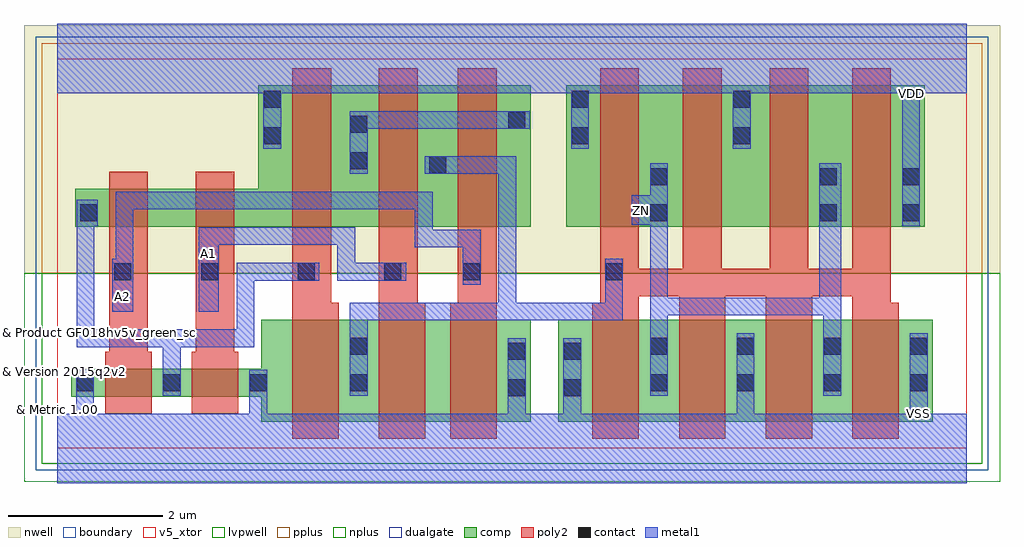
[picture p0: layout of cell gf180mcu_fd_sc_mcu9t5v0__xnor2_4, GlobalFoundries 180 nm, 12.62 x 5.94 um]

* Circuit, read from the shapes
.subckt gf180mcu_fd_sc_mcu9t5v0__xnor2_4 A1 A2 VDD VSS ZN
XM1 n1 A2 VSS VSUBS nfet_05v0 w=0.36u l=0.6u
XM2 VSS A1 n1 VSUBS nfet_05v0 w=0.36u l=0.6u
XM3 n2 n1 VSS VSUBS nfet_05v0 w=1.32u l=0.6u
XM4 n3 A1 n2 VSUBS nfet_05v0 w=1.32u l=0.6u
XM5 VSS A2 n3 VSUBS nfet_05v0 w=1.32u l=0.6u
XM6 ZN n2 VSS VSUBS nfet_05v0 w=1.32u l=0.6u m=4
XM7 n4 A2 n1 n5 pfet_05v0 w=0.495u l=0.5u
XM8 VDD A1 n4 n5 pfet_05v0 w=0.495u l=0.5u
XM9 n6 n1 VDD n5 pfet_05v0 w=1.83u l=0.5u
XM10 n2 A1 n6 n5 pfet_05v0 w=1.83u l=0.5u
XM11 n6 A2 n2 n5 pfet_05v0 w=1.83u l=0.5u
XM12 ZN n2 VDD n5 pfet_05v0 w=1.83u l=0.5u m=4
.ends

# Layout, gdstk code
import gdstk
lib = gdstk.Library(unit=1e-6, precision=1e-09)
def R(c, l, rs):  # rectangles x0, y0, x1, y1
    for r in rs: c.add(gdstk.rectangle(r[:2], r[2:], *l))
def A(c, l, x, y, w, h, nx, ny, dx, dy):  # array of equal rectangles
    R(c, l, [(x+i*dx, y+j*dy, x+i*dx+w, y+j*dy+h) for i in range(nx) for j in range(ny)])
def P(c, l, *ps):  # polygons
    for p in ps: c.add(gdstk.Polygon(p, *l))
boundary = (0, 0)
nwell = (21, 0)
comp = (22, 0)
poly2 = (30, 0)
pplus = (31, 0)
nplus = (32, 0)
contact = (33, 0)
metal1 = (34, 0)
dualgate = (55, 0)
v5_xtor = (112, 1)
lvpwell = (204, 0)

gf180mcu_fd_sc_mcu9t5v0_ = lib.new_cell('gf180mcu_fd_sc_mcu9t5v0__xnor2_4')
R(gf180mcu_fd_sc_mcu9t5v0_, boundary, [(0,0,11.76,5.04)])
R(gf180mcu_fd_sc_mcu9t5v0_, nwell, [(-0.43,2.265,12.19,5.47)])
R(gf180mcu_fd_sc_mcu9t5v0_, comp, [(6.48,0.345,11.32,1.665), (6.58,2.865,11.22,4.695)])
P(gf180mcu_fd_sc_mcu9t5v0_, comp, [(2.64,0.345),(2.64,0.67),(0.18,0.67),(0.18,1.03),(2.64,1.03),(2.64,1.665),(6.12,1.665),(6.12,0.345)],
  [(0.23,2.865),(0.23,3.36),(2.6,3.36),(2.6,4.695),(6.12,4.695),(6.12,2.865)])
P(gf180mcu_fd_sc_mcu9t5v0_, poly2, [(0.62,0.45),(0.62,1.25),(0.67,1.25),(0.67,3.58),(1.17,3.58),(1.17,1.25),(1.22,1.25),(1.22,0.45)],
  [(1.74,0.45),(1.74,1.25),(1.79,1.25),(1.79,3.58),(2.29,3.58),(2.29,1.25),(2.34,1.25),(2.34,0.45)],
  [(3.04,0.125),(3.04,4.915),(3.54,4.915),(3.54,1.885),(3.64,1.885),(3.64,0.125)],
  [(4.16,0.125),(4.16,4.915),(4.66,4.915),(4.66,1.885),(4.76,1.885),(4.76,0.125)],
  [(5.08,0.125),(5.08,1.885),(5.18,1.885),(5.18,4.915),(5.68,4.915),(5.68,0.125)],
  [(6.92,0.125),(6.92,1.885),(7.02,1.885),(7.02,4.915),(7.52,4.915),(7.52,2.325),(8.09,2.325),(8.09,4.915),(8.59,4.915),(8.59,2.325),(9.21,2.325),(9.21,4.915),(9.71,4.915),(9.71,2.325),(10.28,2.325),(10.28,4.915),(10.78,4.915),(10.78,1.885),(10.88,1.885),(10.88,0.125),(10.28,0.125),(10.28,1.965),(9.76,1.965),(9.76,0.125),(9.16,0.125),(9.16,1.965),(8.64,1.965),(8.64,0.125),(8.04,0.125),(8.04,1.965),(7.52,1.965),(7.52,0.125)])
R(gf180mcu_fd_sc_mcu9t5v0_, pplus, [(-0.2,2.265,11.96,5.24)])
R(gf180mcu_fd_sc_mcu9t5v0_, nplus, [(-0.2,-0.2,11.96,2.265)])
A(gf180mcu_fd_sc_mcu9t5v0_, contact, 0.25, 0.74, 0.22, 0.22, 3, 1, 1.12, 0)
A(gf180mcu_fd_sc_mcu9t5v0_, contact, 7.67, 0.74, 0.22, 0.22, 4, 2, 1.12, 0.47)
R(gf180mcu_fd_sc_mcu9t5v0_, contact, [(5.83,0.675,6.05,0.895), (6.55,0.675,6.77,0.895), (3.79,0.74,4.01,0.96), (5.83,1.145,6.05,1.365), (6.55,1.145,6.77,1.365), (3.79,1.21,4.01,1.43), (0.74,2.175,0.96,2.395), (1.86,2.175,2.08,2.395), (3.11,2.175,3.33,2.395), (4.23,2.175,4.45,2.395), (5.25,2.175,5.47,2.395), (7.09,2.175,7.31,2.395), (0.3,2.935,0.52,3.155), (7.67,2.935,7.89,3.155), (9.86,2.935,10.08,3.155), (10.93,2.935,11.15,3.155), (7.67,3.405,7.89,3.625), (9.86,3.405,10.08,3.625), (10.93,3.405,11.15,3.625), (4.81,3.555,5.03,3.775), (3.79,3.61,4.01,3.83), (2.67,3.935,2.89,4.155), (6.65,3.935,6.87,4.155), (8.74,3.935,8.96,4.155), (3.79,4.08,4.01,4.3), (5.83,4.135,6.05,4.355), (2.67,4.405,2.89,4.625), (6.65,4.405,6.87,4.625), (8.74,4.405,8.96,4.625)])
P(gf180mcu_fd_sc_mcu9t5v0_, metal1, [(1.365,0.68),(1.365,1.31),(0.25,1.31),(0.25,3.215),(0.525,3.215),(0.525,2.875),(0.48,2.875),(0.48,1.54),(2.32,1.54),(2.32,2.4),(3.39,2.4),(3.39,2.17),(2.55,2.17),(2.55,1.31),(1.595,1.31),(1.595,0.68)],
  [(1.83,1.77),(1.83,2.86),(3.85,2.86),(3.85,2.4),(4.51,2.4),(4.51,2.17),(3.62,2.17),(3.62,2.63),(2.09,2.63),(2.09,1.77)],
  [(0.71,1.77),(0.71,2.455),(0.755,2.455),(0.755,3.32),(4.855,3.32),(4.855,2.83),(5.475,2.83),(5.475,2.115),(5.245,2.115),(5.245,2.6),(4.625,2.6),(4.625,3.09),(0.985,3.09),(0.985,1.77)],
  [(3.785,3.55),(3.785,4.36),(6.11,4.36),(6.11,4.13),(4.015,4.13),(4.015,3.55)],
  [(3.785,0.68),(3.785,1.885),(5.705,1.885),(5.705,3.55),(4.75,3.55),(4.75,3.78),(5.935,3.78),(5.935,1.885),(7.085,1.885),(7.085,2.455),(7.315,2.455),(7.315,1.655),(4.015,1.655),(4.015,0.68)],
  [(7.665,0.68),(7.665,2.89),(7.43,2.89),(7.43,3.27),(7.665,3.27),(7.665,3.685),(7.895,3.685),(7.895,1.95),(9.855,1.95),(9.855,3.685),(10.135,3.685),(10.135,0.68),(9.905,0.68),(9.905,1.72),(7.895,1.72),(7.895,0.68)],
  [(0,-0.45),(0,0.45),(0.245,0.45),(0.245,1.02),(0.475,1.02),(0.475,0.45),(2.485,0.45),(2.485,1.02),(2.715,1.02),(2.715,0.45),(5.825,0.45),(5.825,1.425),(6.055,1.425),(6.055,0.45),(6.545,0.45),(6.545,1.425),(6.775,1.425),(6.775,0.45),(8.785,0.45),(8.785,1.49),(9.015,1.49),(9.015,0.45),(11.025,0.45),(11.025,1.49),(11.255,1.49),(11.255,0.45),(11.76,0.45),(11.76,-0.45)],
  [(10.925,2.875),(10.925,4.59),(8.965,4.59),(8.965,3.875),(8.735,3.875),(8.735,4.59),(6.875,4.59),(6.875,3.875),(6.645,3.875),(6.645,4.59),(2.895,4.59),(2.895,3.875),(2.665,3.875),(2.665,4.59),(0,4.59),(0,5.49),(11.76,5.49),(11.76,4.59),(11.155,4.59),(11.155,2.875)])
R(gf180mcu_fd_sc_mcu9t5v0_, dualgate, [(-0.28,-0.28,12.04,5.32)])
R(gf180mcu_fd_sc_mcu9t5v0_, v5_xtor, [(0,0,11.76,5.04)])
R(gf180mcu_fd_sc_mcu9t5v0_, lvpwell, [(-0.43,-0.43,12.19,2.265)])
gf180mcu_fd_sc_mcu9t5v0_.add(gdstk.Label('A1', (1.96,2.52), layer=34, texttype=10))
gf180mcu_fd_sc_mcu9t5v0_.add(gdstk.Label('A2', (0.84,1.96), layer=34, texttype=10))
gf180mcu_fd_sc_mcu9t5v0_.add(gdstk.Label('VDD', (11.04,4.59), layer=34, texttype=10))
gf180mcu_fd_sc_mcu9t5v0_.add(gdstk.Label('VSS', (11.14,0.45), layer=34, texttype=10))
gf180mcu_fd_sc_mcu9t5v0_.add(gdstk.Label('ZN', (7.56,3.08), layer=34, texttype=10))
gf180mcu_fd_sc_mcu9t5v0_.add(gdstk.Label('& Vendor GLOBALFOUNDRIES', (0,2), layer=63, texttype=63))
gf180mcu_fd_sc_mcu9t5v0_.add(gdstk.Label('& Product GF018hv5v_green_sc9', (0,1.5), layer=63, texttype=63))
gf180mcu_fd_sc_mcu9t5v0_.add(gdstk.Label('& Version 2015q2v2', (0,1), layer=63, texttype=63))
gf180mcu_fd_sc_mcu9t5v0_.add(gdstk.Label('& Metric 1.00', (0,0.5), layer=63, texttype=63))

lib.write_gds('gf180mcu_fd_sc_mcu9t5v0__xnor2_4.gds')
